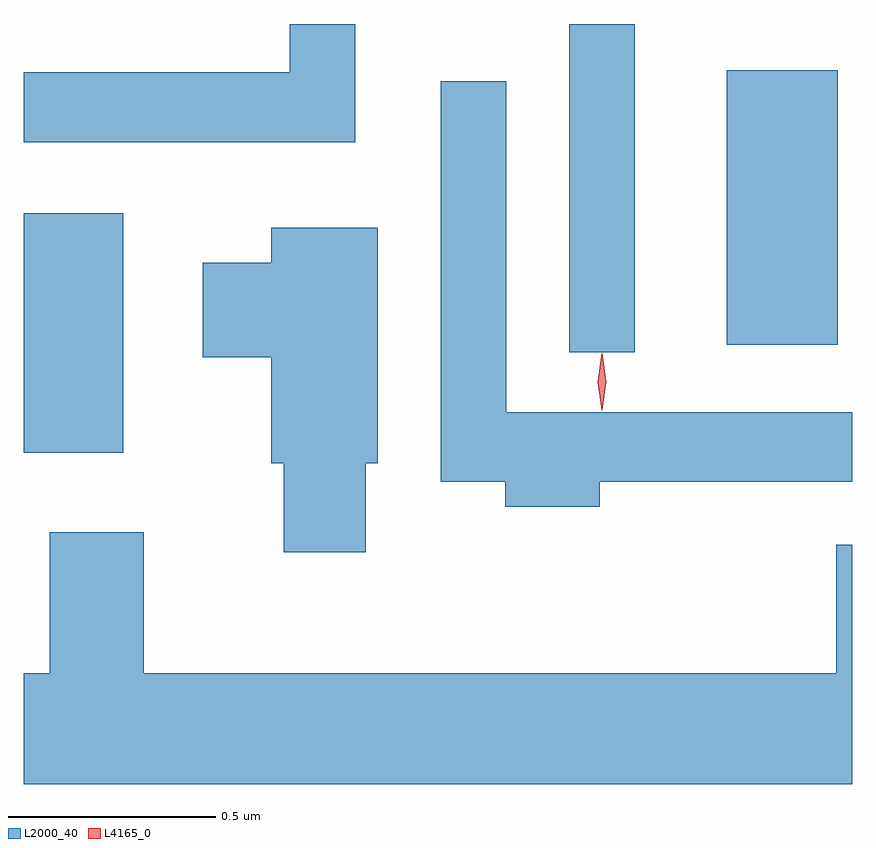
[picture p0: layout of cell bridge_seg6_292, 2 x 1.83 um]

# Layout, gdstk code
import gdstk
lib = gdstk.Library(unit=1e-6, precision=1e-09)
def R(c, l, rs):  # rectangles x0, y0, x1, y1
    for r in rs: c.add(gdstk.rectangle(r[:2], r[2:], *l))
def P(c, l, *ps):  # polygons
    for p in ps: c.add(gdstk.Polygon(p, *l))
L2000_40 = (2000, 40)
L4165_0 = (4165, 0)

bridge_seg6_292 = lib.new_cell('bridge_seg6_292')
R(bridge_seg6_292, L2000_40, [(1242.529,1561.936,1242.769,1562.514), (1243.846,1562.178,1244.004,1562.971), (1244.226,1562.196,1244.494,1562.859)])
P(bridge_seg6_292, L2000_40, [(1243.329,1562.971),(1243.171,1562.971),(1243.171,1562.854),(1242.529,1562.854),(1242.529,1562.686),(1243.329,1562.686)],
  [(1243.919,1561.866),(1244.529,1561.866),(1244.529,1562.034),(1243.694,1562.034),(1243.694,1562.833),(1243.536,1562.833),(1243.536,1561.866),(1243.691,1561.866),(1243.691,1561.806),(1243.919,1561.806)],
  [(1243.354,1561.911),(1243.384,1561.911),(1243.384,1562.479),(1243.126,1562.479),(1243.126,1562.394),(1242.961,1562.394),(1242.961,1562.166),(1243.126,1562.166),(1243.126,1561.911),(1243.156,1561.911),(1243.156,1561.696),(1243.354,1561.696)],
  [(1244.529,1561.714),(1244.491,1561.714),(1244.491,1561.404),(1242.819,1561.404),(1242.819,1561.744),(1242.591,1561.744),(1242.591,1561.404),(1242.529,1561.404),(1242.529,1561.136),(1244.529,1561.136)])
P(bridge_seg6_292, L4165_0, [(1243.925,1562.037),(1243.924,1562.038),(1243.915,1562.107),(1243.924,1562.176),(1243.925,1562.176),(1243.926,1562.176),(1243.935,1562.107),(1243.926,1562.038)],
  [(1243.924,1562.04),(1243.924,1562.04),(1243.915,1562.106),(1243.924,1562.172),(1243.925,1562.173),(1243.925,1562.172),(1243.934,1562.106),(1243.925,1562.04)])

lib.write_gds('bridge_seg6_292.gds')
